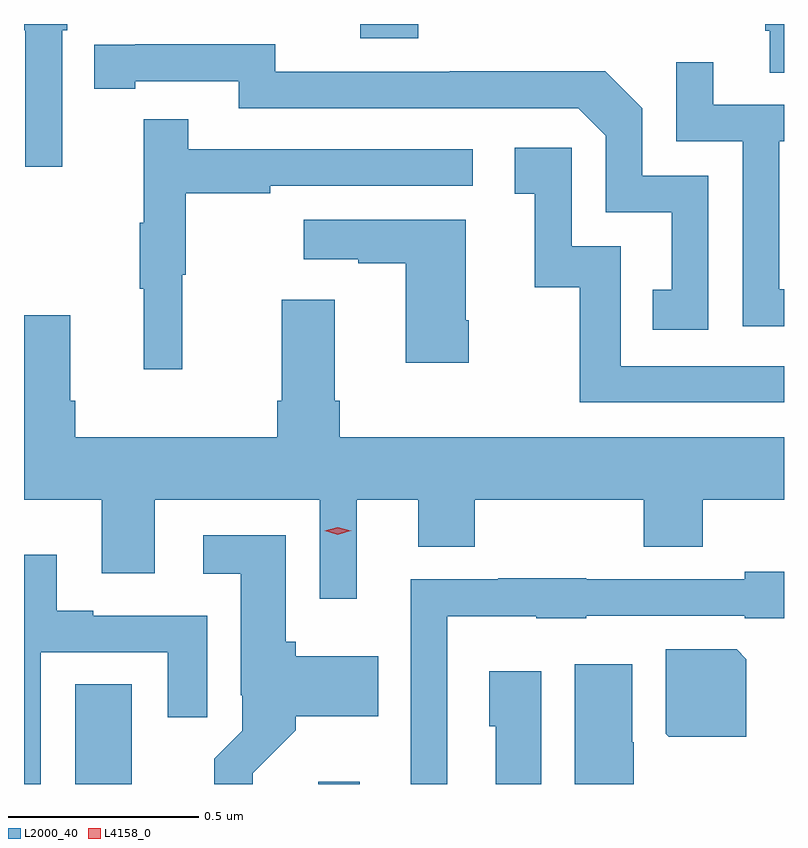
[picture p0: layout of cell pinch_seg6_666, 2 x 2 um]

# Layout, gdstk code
import gdstk
lib = gdstk.Library(unit=1e-6, precision=1e-09)
def R(c, l, rs):  # rectangles x0, y0, x1, y1
    for r in rs: c.add(gdstk.rectangle(r[:2], r[2:], *l))
def P(c, l, *ps):  # polygons
    for p in ps: c.add(gdstk.Polygon(p, *l))
L2000_40 = (2000, 40)
L4158_0 = (4158, 0)

pinch_seg6_666 = lib.new_cell('pinch_seg6_666')
R(pinch_seg6_666, L2000_40, [(376.04,930.604,376.189,930.866), (376.679,930.604,376.789,930.61), (376.79,932.567,376.943,932.604)])
P(pinch_seg6_666, L2000_40, [(377.905,932.604),(377.855,932.604),(377.855,932.586),(377.867,932.586),(377.867,932.476),(377.905,932.476)],
  [(376.005,932.588),(376.019,932.588),(376.019,932.604),(375.905,932.604),(375.905,932.588),(375.908,932.588),(375.908,932.229),(376.005,932.229)],
  [(377.706,932.205),(377.532,932.205),(377.532,932.382),(377.434,932.48),(377.026,932.48),(377.026,932.478),(376.566,932.478),(376.566,932.551),(376.198,932.551),(376.198,932.55),(376.09,932.55),(376.09,932.434),(376.198,932.434),(376.198,932.454),(376.47,932.454),(376.47,932.382),(377.364,932.382),(377.436,932.31),(377.436,932.109),(377.609,932.109),(377.609,931.905),(377.56,931.905),(377.56,931.8),(377.706,931.8)],
  [(377.905,931.906),(377.892,931.906),(377.892,932.295),(377.905,932.295),(377.905,932.391),(377.719,932.391),(377.719,932.503),(377.622,932.503),(377.622,932.295),(377.796,932.295),(377.796,931.809),(377.905,931.809)],
  [(376.322,931.944),(376.33,931.944),(376.33,932.158),(376.553,932.158),(376.553,932.178),(377.086,932.178),(377.086,932.274),(376.337,932.274),(376.337,932.353),(376.22,932.353),(376.22,932.081),(376.209,932.081),(376.209,931.907),(376.22,931.907),(376.22,931.695),(376.322,931.695)],
  [(377.905,931.704),(377.475,931.704),(377.475,932.019),(377.346,932.019),(377.346,932.278),(377.196,932.278),(377.196,932.157),(377.249,932.157),(377.249,931.911),(377.367,931.911),(377.367,931.608),(377.905,931.608)],
  [(377.076,931.825),(377.068,931.825),(377.068,932.089),(376.641,932.089),(376.641,931.985),(376.784,931.985),(376.784,931.975),(376.91,931.975),(376.91,931.713),(377.076,931.713)],
  [(376.027,931.612),(376.027,931.837),(375.905,931.837),(375.905,931.352),(376.109,931.352),(376.109,931.158),(376.249,931.158),(376.249,931.352),(376.683,931.352),(376.683,931.092),(376.78,931.092),(376.78,931.352),(376.943,931.352),(376.943,931.228),(377.091,931.228),(377.091,931.352),(377.536,931.352),(377.536,931.228),(377.691,931.228),(377.691,931.352),(377.905,931.352),(377.905,931.516),(376.736,931.516),(376.736,931.612),(376.723,931.612),(376.723,931.879),(376.583,931.879),(376.583,931.612),(376.571,931.612),(376.571,931.516),(376.04,931.516),(376.04,931.612)],
  [(376.507,930.632),(376.62,930.745),(376.62,930.782),(376.837,930.782),(376.837,930.94),(376.62,930.94),(376.62,930.978),(376.594,930.978),(376.594,931.258),(376.377,931.258),(376.377,931.157),(376.475,931.157),(376.475,930.838),(376.479,930.838),(376.479,930.744),(376.405,930.67),(376.405,930.604),(376.507,930.604)],
  [(375.949,930.951),(376.283,930.951),(376.283,930.78),(376.387,930.78),(376.387,931.047),(376.087,931.047),(376.087,931.06),(375.991,931.06),(375.991,931.207),(375.905,931.207),(375.905,930.604),(375.949,930.604)],
  [(377.019,931.046),(377.253,931.046),(377.253,931.04),(377.385,931.04),(377.385,931.047),(377.802,931.047),(377.802,931.04),(377.905,931.04),(377.905,931.162),(377.802,931.162),(377.802,931.143),(377.385,931.143),(377.385,931.145),(377.153,931.145),(377.153,931.143),(376.923,931.143),(376.923,930.604),(377.019,930.604)],
  [(377.806,930.932),(377.78,930.958),(377.594,930.958),(377.594,930.736),(377.602,930.728),(377.806,930.728)],
  [(377.51,930.714),(377.506,930.714),(377.506,930.919),(377.354,930.919),(377.354,930.604),(377.51,930.604)],
  [(377.266,930.901),(377.129,930.901),(377.129,930.756),(377.147,930.756),(377.147,930.604),(377.266,930.604)])
P(pinch_seg6_666, L4158_0, [(376.73,931.26),(376.696,931.27),(376.695,931.27),(376.696,931.27),(376.73,931.28),(376.765,931.27),(376.766,931.27),(376.765,931.27)])

lib.write_gds('pinch_seg6_666.gds')
